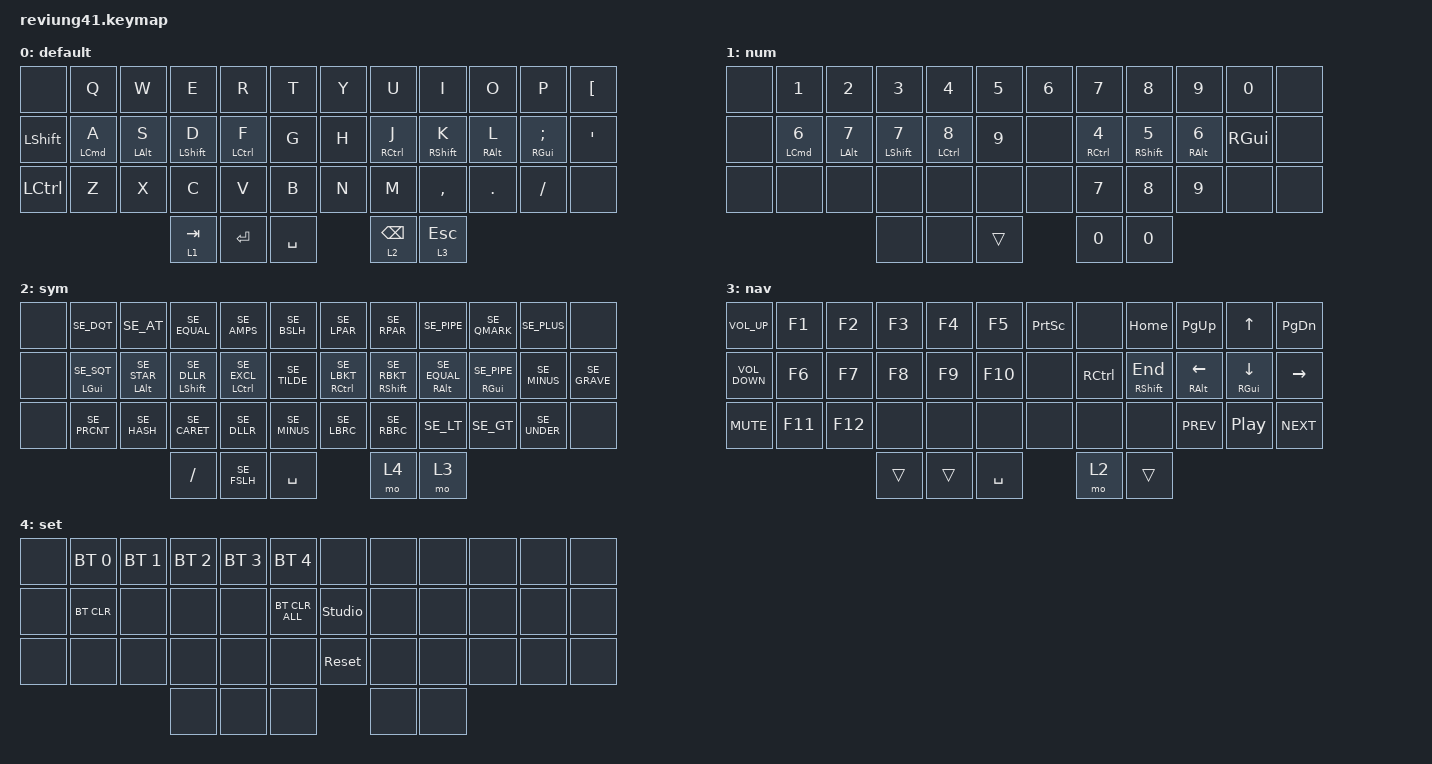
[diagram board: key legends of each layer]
/*
 * Copyright (c) 2020 The ZMK Contributors
 *
 * SPDX-License-Identifier: MIT
 */

#include <behaviors.dtsi>
#include <dt-bindings/zmk/bt.h>
#include <dt-bindings/zmk/keys.h>
#include "swe_keys.h"

&lt {
    quick-tap-ms = <200>;
};

/ {
    behaviors {
        hm: homerow_mods {
            compatible = "zmk,behavior-hold-tap";
            label = "HOMEROW_MODS";
            bindings = <&kp>, <&kp>;

            #binding-cells = <2>;
            tapping-term-ms = <150>;
            quick-tap-ms = <200>;
            flavor = "tap-preferred";
            require-prior-idle-ms = <200>;
        };
    };        

    keymap {
        compatible = "zmk,keymap";

        default {
            bindings = <
&none           &kp Q       &kp W          &kp E         &kp R        &kp T             &kp Y  &kp U                    &kp I          &kp O       &kp P          &kp LBKT
&kp LEFT_SHIFT  &hm LCMD A  &hm LALT S     &hm LSHIFT D  &hm LCTRL F  &kp G             &kp H  &hm RIGHT_CONTROL J      &hm RSHIFT K   &hm RALT L  &hm RGUI SEMI  &kp SQT
&kp LCTRL       &kp Z       &kp X          &kp C         &kp V        &kp B             &kp N  &kp M                    &kp COMMA      &kp DOT     &kp FSLH       &none
                                          &lt 1 TAB     &kp ENTER              &kp SPACE       &lt 2 BACKSPACE          &lt 3 ESCAPE
            >;
        };

        num {
            bindings = <
&none  &kp N1       &kp N2       &kp N3         &kp N4        &kp N5          &kp N6  &kp N7        &kp N8        &kp N9        &kp N0     &none
&none  &hm LCMD N6  &hm LALT N7  &hm LSHIFT N7  &hm LCTRL N8  &kp N9          &none   &hm RCTRL N4  &hm RSHFT N5  &hm RALT N6   &kp RGUI   &none
&none  &none        &none        &none          &none         &none           &none   &kp N7        &kp N8        &kp N9        &none      &none
                                 &none          &none                 &trans          &kp N0        &kp N0
            >;
        };  

        sym {
            bindings = <
&none  &kp SE_DQT       &kp SE_AT         &kp SE_EQUAL        &kp SE_AMPS                  &kp SE_BSLH   &kp SE_LPAR        &kp SE_RPAR         &kp SE_PIPE        &kp SE_QMARK      &kp SE_PLUS      &none
&none  &hm LGUI SE_SQT  &hm LALT SE_STAR  &hm LSHIFT SE_DLLR  &hm LCTRL SE_EXCL            &kp SE_TILDE  &hm RCTRL SE_LBKT  &hm RSHIFT SE_RBKT  &hm RALT SE_EQUAL  &hm RGUI SE_PIPE  &kp SE_MINUS     &kp SE_GRAVE
&none  &kp SE_PRCNT     &kp SE_HASH       &kp SE_CARET        &kp SE_DLLR                  &kp SE_MINUS  &kp SE_LBRC        &kp SE_RBRC         &kp SE_LT          &kp SE_GT         &kp SE_UNDER     &none
                        &kp SLASH         &kp SE_FSLH                          &kp SPACE                  &mo 4        &mo 3
            >;
        };

        nav {
            bindings = <
&kp C_VOLUME_UP    &kp F1   &kp F2   &kp F3  &kp F4  &kp F5             &kp PRINTSCREEN  &none           &kp HOME         &kp PG_UP        &kp UP         &kp PG_DN   
&kp C_VOLUME_DOWN  &kp F6   &kp F7   &kp F8  &kp F9  &kp F10            &none            &kp RCTRL       &hm RSHIFT END   &hm RALT LEFT    &hm RGUI DOWN  &kp RIGHT   
&kp C_MUTE         &kp F11  &kp F12  &none   &none   &none              &none            &none           &none            &kp C_PREV       &kp C_PP       &kp C_NEXT  
                                     &trans  &trans           &kp SPACE                  &mo 2           &trans
            >;
        };

        set {
            bindings = <
&none  &bt BT_SEL 0  &bt BT_SEL 1  &bt BT_SEL 2  &bt BT_SEL 3  &bt BT_SEL 4           &none          &none         &none         &none         &none         &none
&none  &bt BT_CLR    &none         &none         &none         &bt BT_CLR_ALL         &studio_unlock &none         &none         &none         &none         &none
&none  &none         &none         &none         &none         &none                  &sys_reset     &none         &none         &none         &none         &none
                                   &none         &none                         &none                 &none         &none
            >;
        };
    };

    conditional_layers {
        compatible = "zmk,conditional-layers";

        settings {
            if-layers = <3 2>;
            then-layer = <4>;
        };
    };
};
